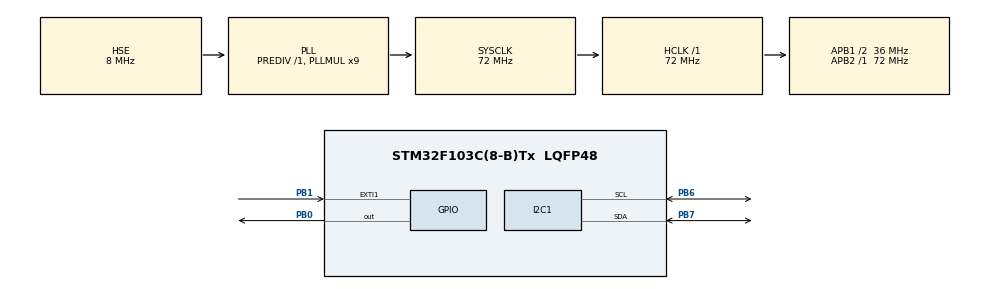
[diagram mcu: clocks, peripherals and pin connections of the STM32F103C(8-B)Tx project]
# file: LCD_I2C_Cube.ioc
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FREERTOS.Tasks01=defaultTask,24,128,StartDefaultTask,Default,NULL,Dynamic,NULL,NULL;myTask02,8,128,StartTask02,Default,NULL,Dynamic,NULL,NULL
FREERTOS.configUSE_NEWLIB_REENTRANT=1
Mcu.Family=STM32F1
Mcu.Name=STM32F103C(8-B)Tx
Mcu.Package=LQFP48
NVIC.EXTI1_IRQn=true\:5\:0\:false\:false\:true\:false\:true\:true\:true
NVIC.PriorityGroup=NVIC_PRIORITYGROUP_4
NVIC.TIM1_UP_IRQn=true\:15\:0\:false\:false\:true\:false\:false\:true\:true
NVIC.TimeBase=TIM1_UP_IRQn
NVIC.TimeBaseIP=TIM1
PA13.Mode=Serial_Wire
PA13.Signal=SYS_JTMS-SWDIO
PA14.Mode=Serial_Wire
PA14.Signal=SYS_JTCK-SWCLK
PB0.Signal=GPIO_Output
PB1.GPIO_PuPd=GPIO_PULLUP
PB1.Signal=GPXTI1
PB6.Mode=I2C
PB6.Signal=I2C1_SCL
PB7.Mode=I2C
PB7.Signal=I2C1_SDA
PD0-OSC_IN.Mode=HSE-External-Oscillator
PD0-OSC_IN.Signal=RCC_OSC_IN
PD1-OSC_OUT.Mode=HSE-External-Oscillator
PD1-OSC_OUT.Signal=RCC_OSC_OUT
ProjectManager.HeapSize=0x200
ProjectManager.StackSize=0x400
ProjectManager.TargetToolchain=STM32CubeIDE
RCC.AHBFreq_Value=72000000
RCC.APB1CLKDivider=RCC_HCLK_DIV2
RCC.APB1Freq_Value=36000000
RCC.APB1TimFreq_Value=72000000
RCC.APB2Freq_Value=72000000
RCC.APB2TimFreq_Value=72000000
RCC.HCLKFreq_Value=72000000
RCC.PLLMUL=RCC_PLL_MUL9
RCC.PLLSourceVirtual=RCC_PLLSOURCE_HSE
RCC.SYSCLKFreq_VALUE=72000000
RCC.SYSCLKSource=RCC_SYSCLKSOURCE_PLLCLK
RCC.USBFreq_Value=72000000
VP_FREERTOS_VS_CMSIS_V2.Mode=CMSIS_V2
VP_SYS_VS_tim1.Mode=TIM1
board=custom

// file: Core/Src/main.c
/* USER CODE BEGIN Header */
/**
  ******************************************************************************
  * @file           : main.c
  * @brief          : Main program body
  ******************************************************************************
  * @attention
  *
  * Copyright (c) 2025 STMicroelectronics.
  * All rights reserved.
  *
  * This software is licensed under terms that can be found in the LICENSE file
  * in the root directory of this software component.
  * If no LICENSE file comes with this software, it is provided AS-IS.
  *
  ******************************************************************************
  */
/* USER CODE END Header */
#include "main.h"
#include "cmsis_os.h"

I2C_HandleTypeDef hi2c1;

/* Definitions for defaultTask */
osThreadId_t defaultTaskHandle;
const osThreadAttr_t defaultTask_attributes = {
  .name = "defaultTask",
  .stack_size = 128 * 4,
  .priority = (osPriority_t) osPriorityNormal,
};
/* Definitions for myTask02 */
osThreadId_t myTask02Handle;
const osThreadAttr_t myTask02_attributes = {
  .name = "myTask02",
  .stack_size = 128 * 4,
  .priority = (osPriority_t) osPriorityLow,
};
/* USER CODE BEGIN PV */
#define LCD_ADDRESS 0x4E
#define RS 0x01
#define RW 0x02
#define EN 0x0C
int count=0;
/* USER CODE END PV */

void SystemClock_Config(void);
static void MX_GPIO_Init(void);
static void MX_I2C1_Init(void);
void StartDefaultTask(void *argument);
void StartTask02(void *argument);

/* USER CODE BEGIN PFP */
void lcd_cmd(uint8_t cmd);
void lcd_data(uint8_t data);
void lcd_setcursor(uint8_t row, uint8_t col);
void lcd_init();
void lcd_string(uint8_t *str);
/* USER CODE END PFP */

int main(void)
{

  /* MCU Configuration--------------------------------------------------------*/

  /* Reset of all peripherals, Initializes the Flash interface and the Systick. */
  HAL_Init();

  /* Configure the system clock */
  SystemClock_Config();

  /* Initialize all configured peripherals */
  MX_GPIO_Init();
  MX_I2C1_Init();
  /* USER CODE BEGIN 2 */
  lcd_init();
  /* USER CODE END 2 */

  /* Init scheduler */
  osKernelInitialize();

  /* Create the thread(s) */
  /* creation of defaultTask */
  defaultTaskHandle = osThreadNew(StartDefaultTask, NULL, &defaultTask_attributes);

  /* creation of myTask02 */
  myTask02Handle = osThreadNew(StartTask02, NULL, &myTask02_attributes);

  /* Start scheduler */
  osKernelStart();

  /* We should never get here as control is now taken by the scheduler */

  /* Infinite loop */
  while (1)
  {

  }
}

void SystemClock_Config(void)
{
  RCC_OscInitTypeDef RCC_OscInitStruct = {0};
  RCC_ClkInitTypeDef RCC_ClkInitStruct = {0};

  /** Initializes the RCC Oscillators according to the specified parameters
  * in the RCC_OscInitTypeDef structure.
  */
  RCC_OscInitStruct.OscillatorType = RCC_OSCILLATORTYPE_HSE;
  RCC_OscInitStruct.HSEState = RCC_HSE_ON;
  RCC_OscInitStruct.HSEPredivValue = RCC_HSE_PREDIV_DIV1;
  RCC_OscInitStruct.HSIState = RCC_HSI_ON;
  RCC_OscInitStruct.PLL.PLLState = RCC_PLL_ON;
  RCC_OscInitStruct.PLL.PLLSource = RCC_PLLSOURCE_HSE;
  RCC_OscInitStruct.PLL.PLLMUL = RCC_PLL_MUL9;
  if (HAL_RCC_OscConfig(&RCC_OscInitStruct) != HAL_OK)
  {
    Error_Handler();
  }

  /** Initializes the CPU, AHB and APB buses clocks
  */
  RCC_ClkInitStruct.ClockType = RCC_CLOCKTYPE_HCLK|RCC_CLOCKTYPE_SYSCLK
                              |RCC_CLOCKTYPE_PCLK1|RCC_CLOCKTYPE_PCLK2;
  RCC_ClkInitStruct.SYSCLKSource = RCC_SYSCLKSOURCE_PLLCLK;
  RCC_ClkInitStruct.AHBCLKDivider = RCC_SYSCLK_DIV1;
  RCC_ClkInitStruct.APB1CLKDivider = RCC_HCLK_DIV2;
  RCC_ClkInitStruct.APB2CLKDivider = RCC_HCLK_DIV1;

  if (HAL_RCC_ClockConfig(&RCC_ClkInitStruct, FLASH_LATENCY_2) != HAL_OK)
  {
    Error_Handler();
  }
}

static void MX_I2C1_Init(void)
{

  hi2c1.Instance = I2C1;
  hi2c1.Init.ClockSpeed = 100000;
  hi2c1.Init.DutyCycle = I2C_DUTYCYCLE_2;
  hi2c1.Init.OwnAddress1 = 0;
  hi2c1.Init.AddressingMode = I2C_ADDRESSINGMODE_7BIT;
  hi2c1.Init.DualAddressMode = I2C_DUALADDRESS_DISABLE;
  hi2c1.Init.OwnAddress2 = 0;
  hi2c1.Init.GeneralCallMode = I2C_GENERALCALL_DISABLE;
  hi2c1.Init.NoStretchMode = I2C_NOSTRETCH_DISABLE;
  if (HAL_I2C_Init(&hi2c1) != HAL_OK)
  {
    Error_Handler();
  }

}

static void MX_GPIO_Init(void)
{
  GPIO_InitTypeDef GPIO_InitStruct = {0};

  /* GPIO Ports Clock Enable */
  __HAL_RCC_GPIOD_CLK_ENABLE();
  __HAL_RCC_GPIOB_CLK_ENABLE();
  __HAL_RCC_GPIOA_CLK_ENABLE();

  /*Configure GPIO pin Output Level */
  HAL_GPIO_WritePin(GPIOB, GPIO_PIN_0, GPIO_PIN_RESET);

  /*Configure GPIO pin : PB0 */
  GPIO_InitStruct.Pin = GPIO_PIN_0;
  GPIO_InitStruct.Mode = GPIO_MODE_OUTPUT_PP;
  GPIO_InitStruct.Pull = GPIO_NOPULL;
  GPIO_InitStruct.Speed = GPIO_SPEED_FREQ_LOW;
  HAL_GPIO_Init(GPIOB, &GPIO_InitStruct);

  /*Configure GPIO pin : PB1 */
  GPIO_InitStruct.Pin = GPIO_PIN_1;
  GPIO_InitStruct.Mode = GPIO_MODE_IT_RISING;
  GPIO_InitStruct.Pull = GPIO_PULLUP;
  HAL_GPIO_Init(GPIOB, &GPIO_InitStruct);

  /* EXTI interrupt init*/
  HAL_NVIC_SetPriority(EXTI1_IRQn, 5, 0);
  HAL_NVIC_EnableIRQ(EXTI1_IRQn);

}

/* USER CODE BEGIN 4 */
void lcd_cmd(uint8_t cmd)
{
	uint8_t cmd_high = cmd&(0xF0);
	uint8_t cmd_low  = (cmd<<4)&(0xF0);
	uint8_t data_t[4];
	data_t[0] = cmd_high|0x0C;
	data_t[1] = cmd_high|0x08;
	data_t[2] = cmd_low|0x0C;
	data_t[3] = cmd_low|0x08;
	HAL_I2C_Master_Transmit(&hi2c1, LCD_ADDRESS, data_t, 4, 100);
}

void lcd_data(uint8_t data)
{
	uint8_t data_high = data&(0xF0);
	uint8_t data_low  = (data<<4)&(0xF0);
	uint8_t data_t[4];
	data_t[0] = data_high|0x0D;
	data_t[1] = data_high|0x09;
	data_t[2] = data_low|0x0D;
	data_t[3] = data_low|0x09;
	HAL_I2C_Master_Transmit(&hi2c1, LCD_ADDRESS, data_t, 4, 100);
}

void lcd_init()
{
	lcd_cmd(0x32); 	// set 4 bit mode
	lcd_cmd(0x28); 	// set 4 bit mode
	lcd_cmd(0x0C); 	// lcd on cursor off
	lcd_cmd(0x01); 	// clear
}
void lcd_setcursor(uint8_t row, uint8_t col)
{
    uint8_t address = (row == 0) ? 0x80 : 0xC0;
    lcd_cmd(address + col);
}
void lcd_string(uint8_t *str)
{
	uint8_t i=0;
	for(i=0; i<strlen(str); i++)
	{
		lcd_data(str[i]);
	}
}

void lcd_number(int num)
{
	uint8_t temp[16];
	sprintf(temp,"%d",num);
	lcd_string(temp);
}

void HAL_GPIO_EXTI_Callback(uint16_t GPIO_Pin)
{
	if(GPIO_Pin == GPIO_PIN_1)
	{
		//while(GPIO_Pin == GPIO_PIN_1);
		count++;
	}
}
/* USER CODE END 4 */

void StartDefaultTask(void *argument)
{
  /* USER CODE BEGIN 5 */
  /* Infinite loop */
  for(;;)
  {
	  HAL_GPIO_TogglePin(GPIOB, GPIO_PIN_0);
    osDelay(1000);
  }
  /* USER CODE END 5 */
}

void StartTask02(void *argument)
{
  /* USER CODE BEGIN StartTask02 */
  /* Infinite loop */
  for(;;)
  {
	  lcd_setcursor(0,0);
	  lcd_string("Gia tri:");
	  lcd_setcursor(1,0);
	  lcd_number(count);
    osDelay(100);
  }
  /* USER CODE END StartTask02 */
}

void HAL_TIM_PeriodElapsedCallback(TIM_HandleTypeDef *htim)
{
  if (htim->Instance == TIM1)
  {
    HAL_IncTick();
  }
}

void Error_Handler(void)
{
  __disable_irq();
  while (1)
  {
  }
}
